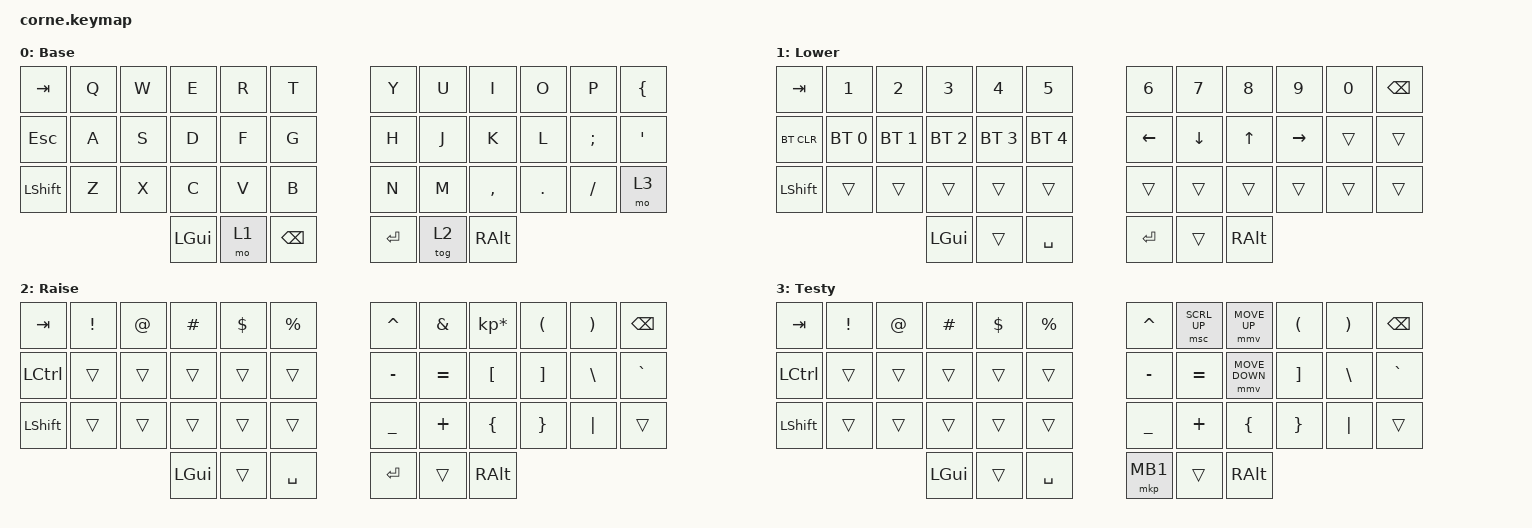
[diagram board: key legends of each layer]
/*
 * Copyright (c) 2020 The ZMK Contributors
 *
 * SPDX-License-Identifier: MIT
 */

#include <behaviors.dtsi>
#include <dt-bindings/zmk/bt.h>
#include <dt-bindings/zmk/keys.h>
#include <dt-bindings/zmk/pointing.h>

/ {
    keymap {
        compatible = "zmk,keymap";

        default_layer {
            // -----------------------------------------------------------------------------------------
            // |  TAB |  Q  |  W  |  E  |  R  |  T  |   |  Y  |  U   |  I  |  O  |  P  | BKSP |
            // | CTRL |  A  |  S  |  D  |  F  |  G  |   |  H  |  J   |  K  |  L  |  ;  |  '   |
            // | SHFT |  Z  |  X  |  C  |  V  |  B  |   |  N  |  M   |  ,  |  .  |  /  | ESC  |
            //                    | GUI | LWR | SPC |   | ENT | RSE  | ALT |

            display-name = "Base";
            bindings = <
&kp TAB    &kp Q  &kp W  &kp E     &kp R  &kp T            &kp Y    &kp U   &kp I      &kp O    &kp P     &kp LEFT_BRACE
&kp ESC    &kp A  &kp S  &kp D     &kp F  &kp G            &kp H    &kp J   &kp K      &kp L    &kp SEMI  &kp SQT
&kp LSHFT  &kp Z  &kp X  &kp C     &kp V  &kp B            &kp N    &kp M   &kp COMMA  &kp DOT  &kp FSLH  &mo 3
                         &kp LGUI  &mo 1  &kp BACKSPACE    &kp RET  &tog 2  &kp RALT
            >;
        };

        lower_layer {
            // -----------------------------------------------------------------------------------------
            // |  TAB |  1  |  2  |  3  |  4  |  5  |   |  6  |  7  |  8  |  9  |  0  | BKSP |
            // | BTCLR| BT1 | BT2 | BT3 | BT4 | BT5 |   | LFT | DWN |  UP | RGT |     |      |
            // | SHFT |     |     |     |     |     |   |     |     |     |     |     |      |
            //                    | GUI |     | SPC |   | ENT |     | ALT |

            display-name = "Lower";
            bindings = <
&kp TAB     &kp N1        &kp N2        &kp N3        &kp N4        &kp N5          &kp N6    &kp N7    &kp N8    &kp N9     &kp N0  &kp BSPC
&bt BT_CLR  &bt BT_SEL 0  &bt BT_SEL 1  &bt BT_SEL 2  &bt BT_SEL 3  &bt BT_SEL 4    &kp LEFT  &kp DOWN  &kp UP    &kp RIGHT  &trans  &trans
&kp LSHFT   &trans        &trans        &trans        &trans        &trans          &trans    &trans    &trans    &trans     &trans  &trans
                                        &kp LGUI      &trans        &kp SPACE       &kp RET   &trans    &kp RALT
            >;
        };

        raise_layer {
            // -----------------------------------------------------------------------------------------
            // |  TAB |  !  |  @  |  #  |  $  |  %  |   |  ^  |  &  |  *  |  (  |  )  | BKSP |
            // | CTRL |     |     |     |     |     |   |  -  |  =  |  [  |  ]  |  \  |  `   |
            // | SHFT |     |     |     |     |     |   |  _  |  +  |  {  |  }  | "|" |  ~   |
            //                    | GUI |     | SPC |   | ENT |     | ALT |

            display-name = "Raise";
            bindings = <
&kp TAB    &kp EXCL  &kp AT  &kp HASH  &kp DLLR  &kp PRCNT    &kp CARET  &kp AMPS   &kp KP_MULTIPLY  &kp LPAR  &kp RPAR  &kp BSPC
&kp LCTRL  &trans    &trans  &trans    &trans    &trans       &kp MINUS  &kp EQUAL  &kp LBKT         &kp RBKT  &kp BSLH  &kp GRAVE
&kp LSHFT  &trans    &trans  &trans    &trans    &trans       &kp UNDER  &kp PLUS   &kp LBRC         &kp RBRC  &kp PIPE  &trans
                             &kp LGUI  &trans    &kp SPACE    &kp RET    &trans     &kp RALT
            >;
        };

        layer_3 {
            display-name = "Testy";
            bindings = <
&kp TAB    &kp EXCL  &kp AT  &kp HASH  &kp DLLR  &kp PRCNT    &kp CARET  &msc SCRL_UP  &mmv MOVE_UP    &kp LPAR  &kp RPAR  &kp BSPC
&kp LCTRL  &trans    &trans  &trans    &trans    &trans       &kp MINUS  &kp EQUAL     &mmv MOVE_DOWN  &kp RBKT  &kp BSLH  &kp GRAVE
&kp LSHFT  &trans    &trans  &trans    &trans    &trans       &kp UNDER  &kp PLUS      &kp LBRC        &kp RBRC  &kp PIPE  &trans
                             &kp LGUI  &trans    &kp SPACE    &mkp MB1   &trans        &kp RALT
            >;
        };
    };
};
